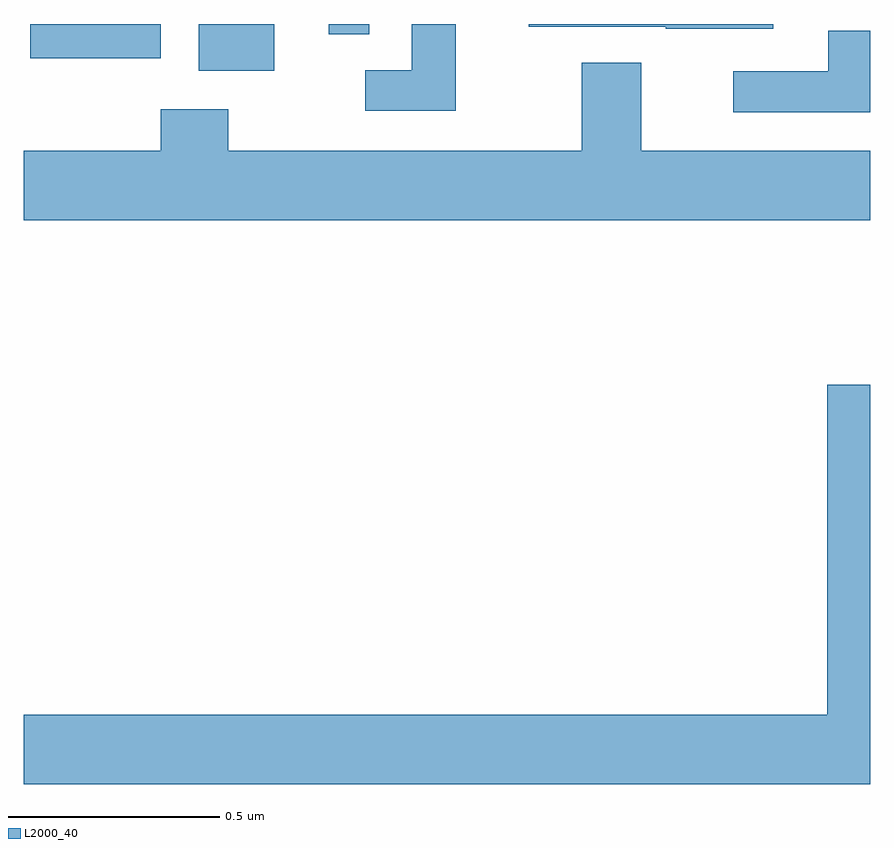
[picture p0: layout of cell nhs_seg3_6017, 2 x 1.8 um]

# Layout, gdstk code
import gdstk
lib = gdstk.Library(unit=1e-6, precision=1e-09)
def R(c, l, rs):  # rectangles x0, y0, x1, y1
    for r in rs: c.add(gdstk.rectangle(r[:2], r[2:], *l))
def P(c, l, *ps):  # polygons
    for p in ps: c.add(gdstk.Polygon(p, *l))
L2000_40 = (2000, 40)

nhs_seg3_6017 = lib.new_cell('nhs_seg3_6017')
R(nhs_seg3_6017, L2000_40, [(186.413,681.29,186.592,681.4), (186.015,681.319,186.324,681.4), (186.72,681.376,186.816,681.4)])
P(nhs_seg3_6017, L2000_40, [(187.771,681.4),(187.193,681.4),(187.193,681.393),(187.517,681.393),(187.517,681.389),(187.771,681.389)],
  [(187.021,681.4),(186.917,681.4),(186.917,681.291),(186.807,681.291),(186.807,681.195),(187.021,681.195)],
  [(188,681.384),(187.901,681.384),(187.901,681.288),(187.677,681.288),(187.677,681.192),(188,681.192)],
  [(188,681.1),(187.459,681.1),(187.459,681.308),(187.319,681.308),(187.319,681.1),(186.483,681.1),(186.483,681.199),(186.323,681.199),(186.323,681.1),(186,681.1),(186,680.936),(188,680.936)],
  [(188,680.547),(187.898,680.547),(187.898,679.768),(186,679.768),(186,679.604),(188,679.604)])

lib.write_gds('nhs_seg3_6017.gds')
